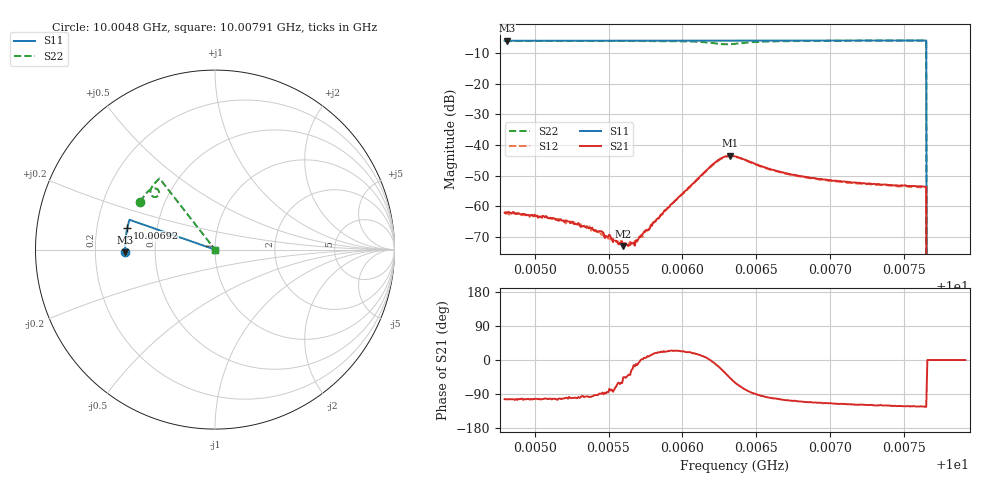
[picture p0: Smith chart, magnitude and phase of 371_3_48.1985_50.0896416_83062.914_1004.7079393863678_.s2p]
#  HZ  S  RI  R  50.00
! Rohde & Schwarz Vector Network Analyzer
! Rohde-Schwarz,ZNB20-2Port,1311601062101988,3.16
! Created: UTC 3/20/2024, 11:52:43 AM
! freq[Hz]  re:S11  im:S11  re:S21  im:S21  re:S12  im:S12  re:S22  im:S22
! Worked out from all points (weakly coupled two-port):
!   401 points, 10.0048 GHz to 10.00791 GHz, reference 50 ohm
!   highest |S21| = -43.57 dB at 10.00632 GHz (marker M1); lowest = -72.9 dB at 10.0056 GHz (marker M2)
!   lowest |S11| = -6.0 dB at 10.00481 GHz (marker M3), VSWR 2.99, Z = 16.7 - j0.64 ohm
!   |S11| at or under -10 dB: 10.00765 GHz to end of sweep
!   |S22| runs from - to -6.0 dB; largest |S21 - S12| = 0.00039
!   S11 on the Smith chart (normalised r, x): 10.0048 GHz: 0.33, -0.01; 10.00692 GHz: 0.33, +0.11; 10.00791 GHz: 1.00, +0.00
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1.0004797e10  -0.499 -0.0153  -0.000177 -0.000762  -0.000157 -0.000755  -0.4162 0.2657
1.0004813e10  -0.499 -0.0144  -0.000181 -0.000769  -0.000149 -0.000758  -0.4157 0.2665
1.000507e10  -0.4997 0.0024  -0.000127 -0.000643  -0.000131 -0.000653  -0.4066 0.2817
1.0005319e10  -0.4999 0.0187  -4.42e-05 -0.00047  -4.99e-05 -0.000462  -0.3967 0.2967
1.0005451e10  -0.4997 0.027  6.65e-06 -0.000391  1.4e-05 -0.000343  -0.391 0.3047
1.0005483e10  -0.4997 0.0291  1.09e-05 -0.000328  3.99e-05 -0.000326  -0.3895 0.3064
1.000556e10  -0.4996 0.0342  0.000119 -0.000226  0.000111 -0.000246  -0.3857 0.3112
1.0005599e10  -0.4994 0.0369  0.000157 -0.000162  0.000155 -0.000188  -0.3837 0.3134
1.0005631e10  -0.4993 0.0388  0.000171 -0.000147  0.000172 -0.000142  -0.3821 0.3155
1.0005677e10  -0.4992 0.0417  0.000216 -6.67e-05  0.000259 -6.9e-05  -0.3795 0.3184
1.0005841e10  -0.4985 0.0524  0.000598 0.000221  0.000598 0.000248  -0.3688 0.3289
1.0006207e10  -0.4958 0.0759  0.00483 -0.000472  0.00474 -0.00023  -0.3159 0.3308
1.0006269e10  -0.4952 0.0798  0.00553 -0.0028  0.00552 -0.00243  -0.3117 0.3102
1.0006324e10  -0.4949 0.083  0.00443 -0.00494  0.00456 -0.00465  -0.3246 0.2949
1.0006355e10  -0.4946 0.0848  0.00329 -0.0056  0.00354 -0.00533  -0.3353 0.2929
1.0006636e10  -0.4922 0.1027  -0.000777 -0.00368  -0.000643 -0.00366  -0.3583 0.3337
1.0006877e10  -0.4893 0.1181  -0.00109 -0.00268  -0.000917 -0.00266  -0.3475 0.3545
1.0006916e10  -0.4889 0.1207  -0.00106 -0.00258  -0.000918 -0.00261  -0.3455 0.3573
1.0007399e10  -0.4813 0.1508  -0.00113 -0.00191  -0.00102 -0.00191  -0.3215 0.3845
1.0007633e10  -0.4771 0.1653  -0.00113 -0.00175  -0.00104 -0.00179  -0.3097 0.3957
1.0007672e10  0 0  0 0  0 0  0 0
1.0007913e10  0 0  0 0  0 0  0 0
